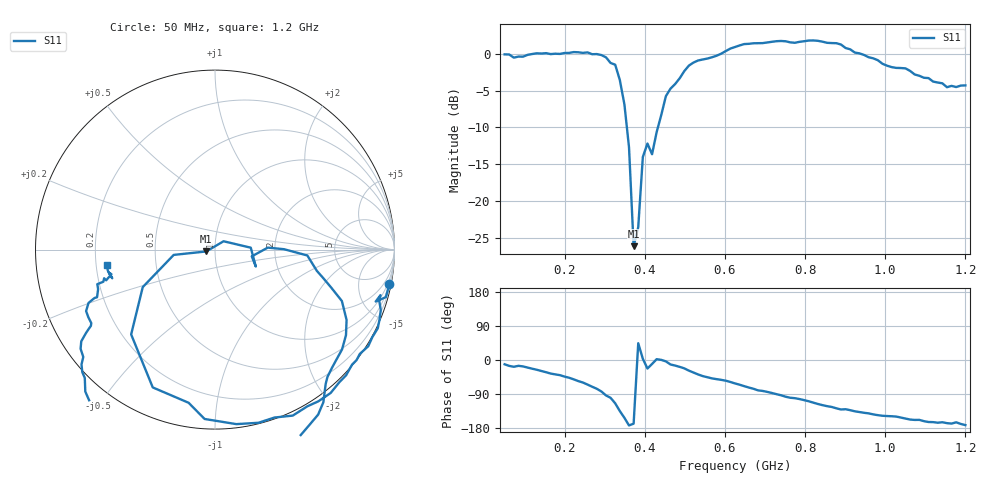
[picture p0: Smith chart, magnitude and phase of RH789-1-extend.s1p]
# HZ S RI R 50
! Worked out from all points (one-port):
!   101 points, 50 MHz to 1.2 GHz, reference 50 ohm
!   lowest |S11| = -26.1 dB at 372 MHz (marker M1), VSWR 1.10, Z = 45.4 - j0.934 ohm
!   |S11| at or under -10 dB: 355.2 MHz to 432.6 MHz (77.39 MHz wide, 19.6 % of centre)
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5e7  0.9709 -0.1944
9.6e7  0.914 -0.2776
1.995e8  0.7303 -0.7003
2.455e8  0.5148 -0.873
2.915e8  0.1188 -0.9724
3.26e8  -0.3468 -0.7679
3.375e8  -0.4672 -0.4726
3.49e8  -0.4025 -0.209
3.605e8  -0.23 -0.0296
3.72e8  -0.0485 -0.0103
3.835e8  0.0478 0.0465
3.95e8  0.1993 0.0106
4.065e8  0.2273 -0.0942
4.18e8  0.2048 -0.0377
4.525e8  0.5145 -0.0328
4.87e8  0.6481 -0.2124
5.215e8  0.7299 -0.4766
6.25e8  0.5242 -0.9791
6.825e8  0.2012 -1.162
7.4e8  -0.0665 -1.218
7.745e8  -0.2222 -1.166
8.09e8  -0.3982 -1.162
8.78e8  -0.718 -0.935
9.125e8  -0.7226 -0.7909
9.93e8  -0.7183 -0.4641
1.062e9  -0.7047 -0.2972
1.154e9  -0.5769 -0.137
1.2e9  -0.6036 -0.0868
